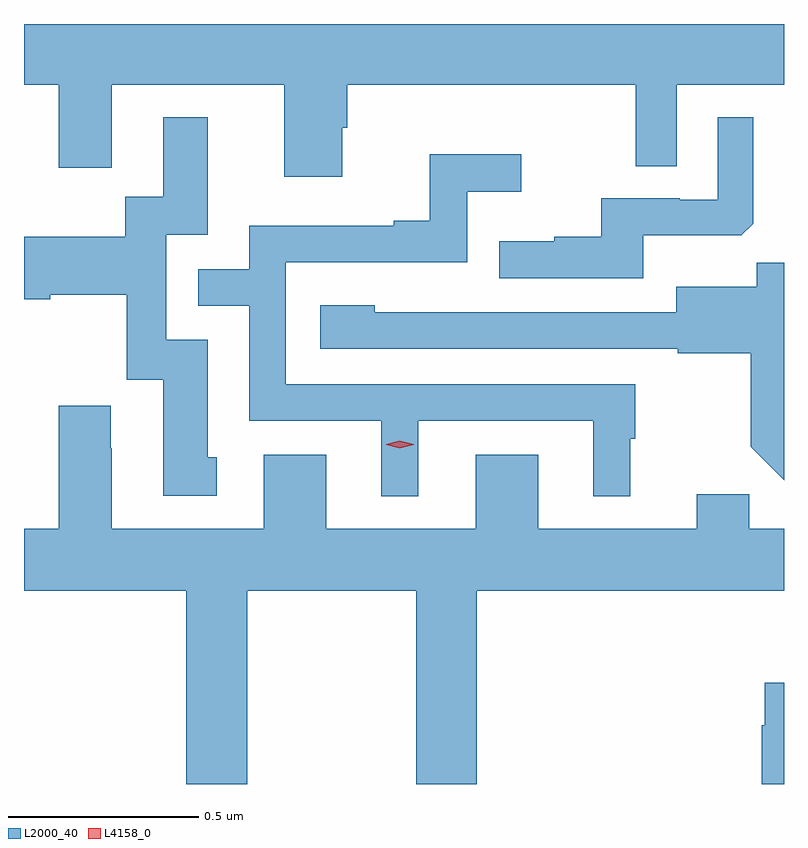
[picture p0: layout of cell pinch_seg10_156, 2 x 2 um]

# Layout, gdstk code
import gdstk
lib = gdstk.Library(unit=1e-6, precision=1e-09)
def P(c, l, *ps):  # polygons
    for p in ps: c.add(gdstk.Polygon(p, *l))
L2000_40 = (2000, 40)
L4158_0 = (4158, 0)

pinch_seg10_156 = lib.new_cell('pinch_seg10_156')
P(pinch_seg10_156, L2000_40, [(672.169,1285.551),(672.182,1285.551),(672.182,1285.664),(672.942,1285.664),(672.942,1285.45),(673.05,1285.45),(673.05,1285.664),(673.332,1285.664),(673.332,1285.824),(671.332,1285.824),(671.332,1285.664),(671.423,1285.664),(671.423,1285.446),(671.563,1285.446),(671.563,1285.664),(672.017,1285.664),(672.017,1285.422),(672.169,1285.422)],
  [(672.961,1285.268),(673.219,1285.268),(673.251,1285.299),(673.251,1285.579),(673.158,1285.579),(673.158,1285.362),(673.058,1285.362),(673.058,1285.365),(672.851,1285.365),(672.851,1285.264),(672.727,1285.264),(672.727,1285.252),(672.583,1285.252),(672.583,1285.155),(672.961,1285.155)],
  [(671.839,1284.684),(671.815,1284.684),(671.815,1284.993),(671.706,1284.993),(671.706,1285.269),(671.815,1285.269),(671.815,1285.579),(671.699,1285.579),(671.699,1285.37),(671.598,1285.37),(671.598,1285.264),(671.332,1285.264),(671.332,1285.1),(671.401,1285.1),(671.401,1285.112),(671.603,1285.112),(671.603,1284.888),(671.699,1284.888),(671.699,1284.582),(671.839,1284.582)],
  [(672.37,1284.78),(672.83,1284.78),(672.83,1284.581),(672.928,1284.581),(672.928,1284.732),(672.94,1284.732),(672.94,1284.876),(672.021,1284.876),(672.021,1285.197),(672.498,1285.197),(672.498,1285.382),(672.64,1285.382),(672.64,1285.481),(672.4,1285.481),(672.4,1285.306),(672.305,1285.306),(672.305,1285.293),(671.925,1285.293),(671.925,1285.179),(671.791,1285.179),(671.791,1285.083),(671.925,1285.083),(671.925,1284.78),(672.272,1284.78),(672.272,1284.581),(672.37,1284.581)],
  [(673.332,1285.196),(673.26,1285.196),(673.26,1285.132),(673.049,1285.132),(673.049,1285.065),(672.491,1285.065),(672.491,1285.066),(672.255,1285.066),(672.255,1285.084),(672.111,1285.084),(672.111,1284.969),(673.053,1284.969),(673.053,1284.957),(673.245,1284.957),(673.245,1284.711),(673.332,1284.624)],
  [(671.919,1284.332),(672.364,1284.332),(672.364,1283.824),(672.524,1283.824),(672.524,1284.332),(673.332,1284.332),(673.332,1284.496),(673.241,1284.496),(673.241,1284.587),(673.103,1284.587),(673.103,1284.496),(672.685,1284.496),(672.685,1284.691),(672.521,1284.691),(672.521,1284.496),(672.127,1284.496),(672.127,1284.691),(671.963,1284.691),(671.963,1284.496),(671.563,1284.496),(671.563,1284.707),(671.56,1284.707),(671.56,1284.82),(671.423,1284.82),(671.423,1284.496),(671.332,1284.496),(671.332,1284.332),(671.759,1284.332),(671.759,1283.824),(671.919,1283.824)],
  [(673.332,1284.091),(673.281,1284.091),(673.281,1283.978),(673.273,1283.978),(673.273,1283.824),(673.332,1283.824)])
P(pinch_seg10_156, L4158_0, [(672.321,1284.707),(672.285,1284.717),(672.285,1284.717),(672.285,1284.718),(672.321,1284.727),(672.357,1284.718),(672.357,1284.717),(672.357,1284.717)])

lib.write_gds('pinch_seg10_156.gds')
